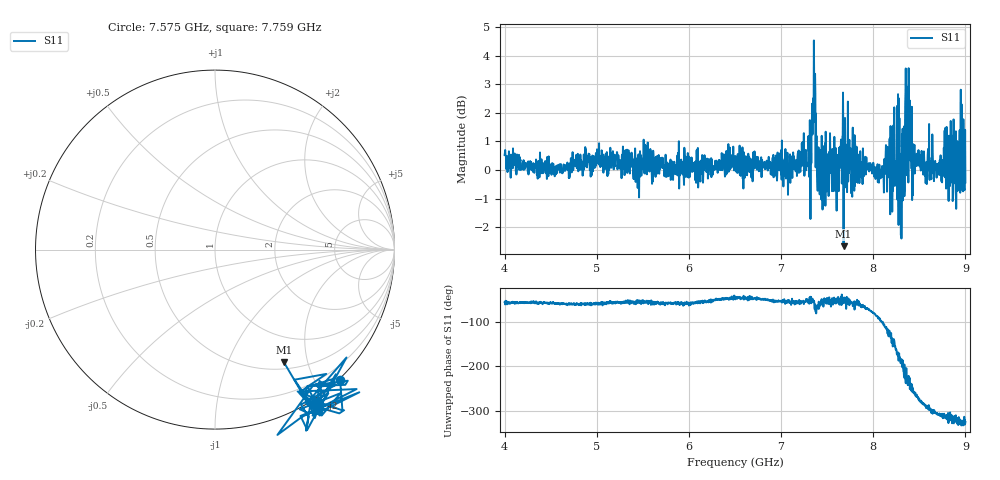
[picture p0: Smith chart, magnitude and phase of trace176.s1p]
! Created with skrf 1.8.0 (http://scikit-rf.org).
# Hz S RI R 50.0
!freq ReS11 ImS11
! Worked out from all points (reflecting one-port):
!   1601 points, 4 GHz to 9 GHz, reference 50 ohm
!   lowest |S11| = -2.7 dB at 7.678 GHz (marker M1), VSWR 6.59, Z = 29.6 - j81.2 ohm
!   phase of S11 starts at -56 deg and turns -269 deg over the sweep
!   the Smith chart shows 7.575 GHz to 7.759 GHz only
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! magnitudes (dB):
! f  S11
! 4 GHz  0.5
! 4.625 GHz  -0.1
! 5.25 GHz  0.0
! 5.875 GHz  0.5
! 6.5 GHz  0.2
! 7.125 GHz  0.5
! 7.297 GHz  1.2
! 7.356 GHz  4.5
! 7.381 GHz  0.8
! 7.4 GHz  0.3
! 7.412 GHz  -0.5
! 7.509 GHz  -0.1
! 7.606 GHz  0.5
! 7.65 GHz  1.1
! 7.678 GHz  -2.7
! 7.75 GHz  0.4
! 8.094 GHz  -0.2
! 8.153 GHz  0.8
! 8.188 GHz  1.5
! 8.262 GHz  -1.0
! 8.316 GHz  0.5
! 8.334 GHz  1.5
! 8.375 GHz  1.1
! 8.447 GHz  0.9
! 8.788 GHz  -0.2
! 8.841 GHz  1.7
! 8.956 GHz  -0.7
! 9 GHz  -0.4
